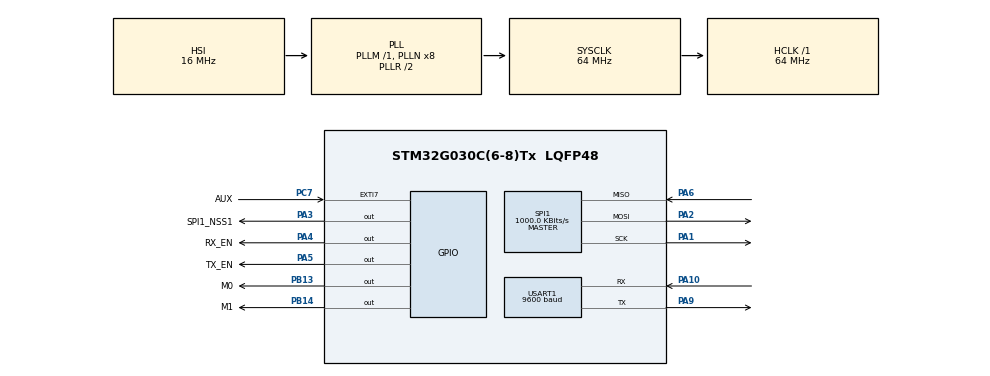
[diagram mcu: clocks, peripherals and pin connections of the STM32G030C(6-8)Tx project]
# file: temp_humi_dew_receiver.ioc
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Mcu.Family=STM32G0
Mcu.Name=STM32G030C(6-8)Tx
Mcu.Package=LQFP48
NVIC.USART1_IRQn=true\:0\:0\:false\:false\:true\:true\:true\:true
PA1.Mode=Full_Duplex_Master
PA1.Signal=SPI1_SCK
PA10.Mode=Asynchronous
PA10.Signal=USART1_RX
PA13.Mode=Serial_Wire
PA13.Signal=SYS_SWDIO
PA14-BOOT0.Mode=Serial_Wire
PA14-BOOT0.Signal=SYS_SWCLK
PA2.Mode=Full_Duplex_Master
PA2.Signal=SPI1_MOSI
PA3.GPIO_Label=SPI1_NSS1
PA3.GPIO_PuPd=GPIO_PULLUP
PA3.GPIO_Speed=GPIO_SPEED_FREQ_HIGH
PA3.Signal=GPIO_Output
PA4.GPIO_Label=RX_EN
PA4.Signal=GPIO_Output
PA5.GPIO_Label=TX_EN
PA5.Signal=GPIO_Output
PA6.Mode=Full_Duplex_Master
PA6.Signal=SPI1_MISO
PA9.Mode=Asynchronous
PA9.Signal=USART1_TX
PB13.GPIO_Label=M0
PB13.Signal=GPIO_Output
PB14.GPIO_Label=M1
PB14.Signal=GPIO_Output
PC7.GPIO_Label=AUX
PC7.Signal=GPXTI7
PF0-OSC_IN\ (PF0).Mode=HSE-External-Oscillator
PF0-OSC_IN\ (PF0).Signal=RCC_OSC_IN
PF1-OSC_OUT\ (PF1).Mode=HSE-External-Oscillator
PF1-OSC_OUT\ (PF1).Signal=RCC_OSC_OUT
ProjectManager.HeapSize=0x200
ProjectManager.StackSize=0x400
ProjectManager.TargetToolchain=MDK-ARM V5.32
RCC.ADCFreq_Value=64000000
RCC.AHBFreq_Value=64000000
RCC.CortexFreq_Value=64000000
RCC.EXTERNAL_CLOCK_VALUE=12288000
RCC.HCLKFreq_Value=64000000
RCC.HSE_VALUE=8000000
RCC.HSI_VALUE=16000000
RCC.LSE_VALUE=32768
RCC.SYSCLKFreq_VALUE=64000000
RCC.SYSCLKSource=RCC_SYSCLKSOURCE_PLLCLK
RCC.VCOOutputFreq_Value=128000000
SPI1.BaudRatePrescaler=SPI_BAUDRATEPRESCALER_64
SPI1.CLKPhase=SPI_PHASE_1EDGE
SPI1.CalculateBaudRate=1000.0 KBits/s
SPI1.Direction=SPI_DIRECTION_2LINES
SPI1.Mode=SPI_MODE_MASTER
SPI1.VirtualType=VM_MASTER
USART1.BaudRate=9600
USART1.VirtualMode-Asynchronous=VM_ASYNC
board=custom

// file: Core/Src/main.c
/* USER CODE BEGIN Header */
/**
  ******************************************************************************
  * @file           : main.c
  * @brief          : Main program body
  ******************************************************************************
  * @attention
  *
  * Copyright (c) 2026 STMicroelectronics.
  * All rights reserved.
  *
  * This software is licensed under terms that can be found in the LICENSE file
  * in the root directory of this software component.
  * If no LICENSE file comes with this software, it is provided AS-IS.
  *
  ******************************************************************************
  */
/* USER CODE END Header */
#include "main.h"
#include "spi.h"
#include "usart.h"
#include "gpio.h"

/* USER CODE BEGIN Includes */
#include "E28.h"
/* USER CODE END Includes */

/* USER CODE BEGIN PV */
uint8_t buf[64]={0};
uint8_t receive_flag=0;//1表示有数�???
/* USER CODE END PV */

void SystemClock_Config(void);

/* USER CODE BEGIN 0 */
// void HAL_GPIO_EXTI_Rising_Callback(uint16_t GPIO_Pin)
// {
//     if(GPIO_Pin==AUX_Pin&&issendcmd_flag==0)
//     {
//         receive_flag=1;
//     }
// }
/* USER CODE END 0 */

int main(void)
{

  /* MCU Configuration--------------------------------------------------------*/

  /* Reset of all peripherals, Initializes the Flash interface and the Systick. */
  HAL_Init();

  /* Configure the system clock */
  SystemClock_Config();

  /* Initialize all configured peripherals */
  MX_GPIO_Init();
  MX_USART1_UART_Init();
  MX_SPI1_Init();
  /* USER CODE BEGIN 2 */
          uint8_t a=0x80;
		uint8_t b=0x00;
 My_E28_2G4M20S_init();
 My_E28_receive_cmd();
  /* USER CODE END 2 */

  /* Infinite loop */
  /* USER CODE BEGIN WHILE */
  while (1)
  {

//	  uint8_t tx[2] = {0xC0, 0x00};
//uint8_t rx[2] = {0};

//My_spi_nss_en();
//HAL_SPI_TransmitReceive(&hspi1, tx, rx, 2, 10);
//My_spi_nss_close();

//volatile uint8_t status = rx[1];   // �⣡�ţ��ǣ�Status��
//volatile uint8_t busy   = status & 0x01;

	   My_E28_receive_cmd();
   // 1. 获取中断状�?? (GetIrqStatus 指令: 0x15)
    uint8_t get_irq_cmd[4] = {0x15, 0x00, 0x00, 0x00}; // 指令 + 1个状态字�?? + 2个空字节换取数据
    uint8_t irq_res[4] = {0};

    My_spi_nss_en();
	HAL_Delay(5);
    HAL_SPI_TransmitReceive(&hspi1, get_irq_cmd, irq_res, 4, 10);
    My_spi_nss_close();
	HAL_Delay(5);
    // irq_res[2] �?? IRQ 的高 8 位，irq_res[3] �?? IRQ 的低 8 �??
    // RxDone 位在�?? 8 位的�?? 1 位（二进�?? 0000 0010，即 0x02�??
    uint16_t irq_status = (irq_res[2] << 8) | irq_res[3];

		uint8_t c0_cmd[2] = {0xC0, 0x00};
		uint8_t c0_res[2] = {0};
		My_spi_nss_en();
		HAL_Delay(5);
		HAL_SPI_TransmitReceive(&hspi1, c0_cmd, c0_res, 2, 10);
		My_spi_nss_close();
		HAL_Delay(5);

    if ((c0_res[1] & 0x01) == 0) {
    // ֻ�в�æ��ʱ�򣬲�ȥ�� IRQ
    //////////////////////////
    uint16_t irq = My_E28_GetIrqStatus_Logic();

    if (irq & 0x0002) {
        // --- 发现 RxDone，说明收到包了！ ---

        // 2. 获取接收到的数据长度和起始地�?? (GetRxBufferStatus: 0x17)
        uint8_t get_buf_cmd[4] = {0x17, 0x00, 0x00, 0x00};
        uint8_t buf_info[4] = {0xff,0xff,0xff,0xff};
        My_spi_nss_en();
		HAL_Delay(5);
        HAL_SPI_TransmitReceive(&hspi1, get_buf_cmd, buf_info, 4, 10);
        My_spi_nss_close();
		HAL_Delay(5);

        uint8_t payloadLen = buf_info[2]; // 收到多少字节
        uint8_t startAddr  = buf_info[3]; // 数据存在芯片内存的哪�??

        // 3. 从芯片内存读取真实数�?? (ReadBuffer: 0x1B)
		uint8_t tx[100] = {0};
		uint8_t rx[100] = {0};

		tx[0] = 0x1B;
		tx[1] = startAddr;
		tx[2] = 0x00; // dummy

		My_spi_nss_en();
		HAL_Delay(5);
		HAL_SPI_TransmitReceive(&hspi1, tx, rx, payloadLen + 3, 100);
		My_spi_nss_close();
		HAL_Delay(5);
        // 此时 real_payload[3] �??后就是你收到的数据了�??

		//这里把receivebuffer清空为0x60
		uint8_t test60[30];
		uint8_t tset2[30];
		uint8_t test3[30];
		for(int i=0;i<30;i++)test60[i]=0x60;
		My_E28_writebuffer(test60,30);

		My_readbuffer(a);
		My_readbuffer(b);
        // 4. 重要！清除中断标�?? (ClearIrqStatus: 0x07)
        // 如果不清除，irq_status & 0x02 永远为真，程序会死循环在这里
        uint8_t clear_irq[] = {0x97, 0xFF, 0xFF};
        My_spi_nss_en();
		HAL_Delay(5);
        HAL_SPI_Transmit(&hspi1, clear_irq, 3, 10);
        My_spi_nss_close();
		HAL_Delay(5);

        // 5. 如果不是持续接收模式，可能需要重新发�?? SetRx
    }

}
    // 稍微歇一下，不要�?? SPI 总线跑太热，也可以不�??
    HAL_Delay(20);
    /* USER CODE END WHILE */

  }
}

void SystemClock_Config(void)
{
  RCC_OscInitTypeDef RCC_OscInitStruct = {0};
  RCC_ClkInitTypeDef RCC_ClkInitStruct = {0};

  /** Configure the main internal regulator output voltage
  */
  HAL_PWREx_ControlVoltageScaling(PWR_REGULATOR_VOLTAGE_SCALE1);

  /** Initializes the RCC Oscillators according to the specified parameters
  * in the RCC_OscInitTypeDef structure.
  */
  RCC_OscInitStruct.OscillatorType = RCC_OSCILLATORTYPE_HSI;
  RCC_OscInitStruct.HSIState = RCC_HSI_ON;
  RCC_OscInitStruct.HSIDiv = RCC_HSI_DIV1;
  RCC_OscInitStruct.HSICalibrationValue = RCC_HSICALIBRATION_DEFAULT;
  RCC_OscInitStruct.PLL.PLLState = RCC_PLL_ON;
  RCC_OscInitStruct.PLL.PLLSource = RCC_PLLSOURCE_HSI;
  RCC_OscInitStruct.PLL.PLLM = RCC_PLLM_DIV1;
  RCC_OscInitStruct.PLL.PLLN = 8;
  RCC_OscInitStruct.PLL.PLLP = RCC_PLLP_DIV2;
  RCC_OscInitStruct.PLL.PLLR = RCC_PLLR_DIV2;
  if (HAL_RCC_OscConfig(&RCC_OscInitStruct) != HAL_OK)
  {
    Error_Handler();
  }

  /** Initializes the CPU, AHB and APB buses clocks
  */
  RCC_ClkInitStruct.ClockType = RCC_CLOCKTYPE_HCLK|RCC_CLOCKTYPE_SYSCLK
                              |RCC_CLOCKTYPE_PCLK1;
  RCC_ClkInitStruct.SYSCLKSource = RCC_SYSCLKSOURCE_PLLCLK;
  RCC_ClkInitStruct.AHBCLKDivider = RCC_SYSCLK_DIV1;
  RCC_ClkInitStruct.APB1CLKDivider = RCC_HCLK_DIV1;

  if (HAL_RCC_ClockConfig(&RCC_ClkInitStruct, FLASH_LATENCY_2) != HAL_OK)
  {
    Error_Handler();
  }
}

void Error_Handler(void)
{
  __disable_irq();
  while (1)
  {
  }
}
